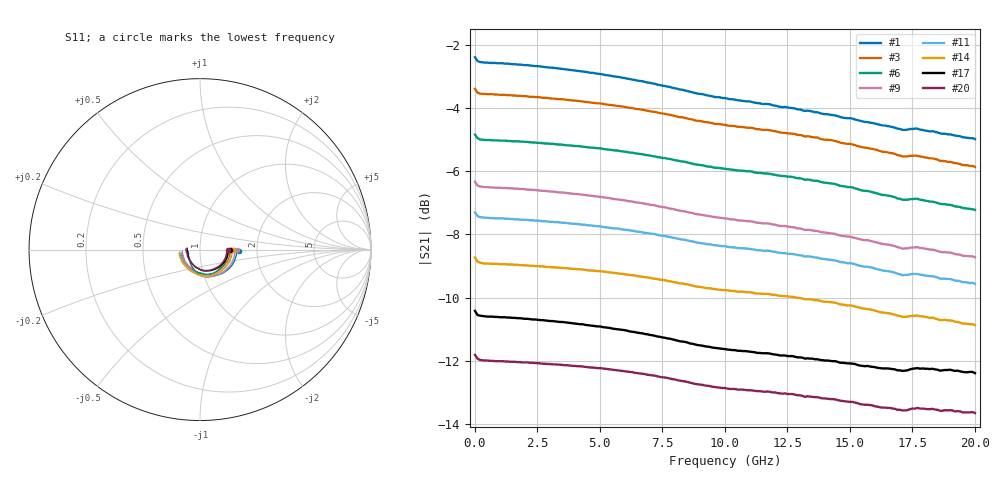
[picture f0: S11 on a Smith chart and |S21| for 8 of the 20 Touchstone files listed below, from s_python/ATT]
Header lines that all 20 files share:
!s2p File: Measurements: S11, S21, S12, S22
# GHz S dB R 50.0
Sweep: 10 MHz to 20.01 GHz
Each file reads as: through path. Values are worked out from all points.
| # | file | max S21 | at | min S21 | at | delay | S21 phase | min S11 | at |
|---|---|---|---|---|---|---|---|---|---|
| 1 | HMC424A-DIE_direct probed sparameters_0.0dB.s2p | -2.39 dB | 10 MHz | -5.0 dB | 20.01 GHz | 24.6 ps | -92 deg at 10.01 GHz | -23.2 dB | 19.81 GHz |
| 2 | HMC424A-DIE_direct probed sparameters_0.5dB.s2p | -2.83 dB | 10 MHz | -5.4 dB | 20.01 GHz | 25.1 ps | -93 deg at 10.01 GHz | -21.7 dB | 19.91 GHz |
| 3 | HMC424A-DIE_direct probed sparameters_1.0dB.s2p | -3.39 dB | 10 MHz | -5.9 dB | 20.01 GHz | 24.9 ps | -92 deg at 10.01 GHz | -19.6 dB | 19.91 GHz |
| 4 | HMC424A-DIE_direct probed sparameters_1.5dB.s2p | -3.81 dB | 10 MHz | -6.3 dB | 20.01 GHz | 25.4 ps | -93 deg at 10.01 GHz | -18.9 dB | 19.91 GHz |
| 5 | HMC424A-DIE_direct probed sparameters_2.0dB.s2p | -4.41 dB | 10 MHz | -6.8 dB | 20.01 GHz | 24.4 ps | -91 deg at 10.01 GHz | -19.6 dB | 18.41 GHz |
| 6 | HMC424A-DIE_direct probed sparameters_2.5dB.s2p | -4.84 dB | 10 MHz | -7.2 dB | 20.01 GHz | 24.8 ps | -91 deg at 10.01 GHz | -19.0 dB | 19.91 GHz |
| 7 | HMC424A-DIE_direct probed sparameters_3.0dB.s2p | -5.35 dB | 10 MHz | -7.8 dB | 20.01 GHz | 24.7 ps | -91 deg at 10.01 GHz | -17.9 dB | 19.81 GHz |
| 8 | HMC424A-DIE_direct probed sparameters_3.5dB.s2p | -5.76 dB | 10 MHz | -8.2 dB | 20.01 GHz | 25 ps | -92 deg at 10.01 GHz | -17.5 dB | 19.81 GHz |
| 9 | HMC424A-DIE_direct probed sparameters_4.0dB.s2p | -6.33 dB | 10 MHz | -8.7 dB | 20.01 GHz | 23.7 ps | -88 deg at 10.01 GHz | -19.7 dB | 20.01 GHz |
| 10 | HMC424A-DIE_direct probed sparameters_4.5dB.s2p | -6.76 dB | 10 MHz | -9.1 dB | 20.01 GHz | 24.1 ps | -89 deg at 10.01 GHz | -19.1 dB | 19.91 GHz |
| 11 | HMC424A-DIE_direct probed sparameters_5.0dB.s2p | -7.30 dB | 10 MHz | -9.6 dB | 20.01 GHz | 23.9 ps | -89 deg at 10.01 GHz | -18.5 dB | 19.91 GHz |
| 12 | HMC424A-DIE_direct probed sparameters_5.5dB.s2p | -7.71 dB | 10 MHz | -10.0 dB | 20.01 GHz | 24.3 ps | -89 deg at 10.01 GHz | -18.1 dB | 19.91 GHz |
| 13 | HMC424A-DIE_direct probed sparameters_6.0dB.s2p | -8.32 dB | 10 MHz | -10.5 dB | 20.01 GHz | 23.4 ps | -86 deg at 10.01 GHz | -18.6 dB | 19.91 GHz |
| 14 | HMC424A-DIE_direct probed sparameters_6.5dB.s2p | -8.73 dB | 10 MHz | -10.9 dB | 20.01 GHz | 23.7 ps | -87 deg at 10.01 GHz | -18.2 dB | 19.91 GHz |
| 15 | HMC424A-DIE_direct probed sparameters_7.0dB.s2p | -9.24 dB | 10 MHz | -11.4 dB | 20.01 GHz | 23.6 ps | -87 deg at 10.01 GHz | -17.9 dB | 19.91 GHz |
| 16 | HMC424A-DIE_direct probed sparameters_7.5dB.s2p | -9.64 dB | 10 MHz | -11.8 dB | 20.01 GHz | 23.9 ps | -88 deg at 10.01 GHz | -17.6 dB | 19.91 GHz |
| 17 | HMC424A-DIE_direct probed sparameters_8.0dB.s2p | -10.42 dB | 10 MHz | -12.4 dB | 20.01 GHz | 21.8 ps | -82 deg at 10.01 GHz | -22.7 dB | 18.41 GHz |
| 18 | HMC424A-DIE_direct probed sparameters_8.5dB.s2p | -10.85 dB | 10 MHz | -12.8 dB | 20.01 GHz | 22.2 ps | -83 deg at 10.01 GHz | -22.3 dB | 18.41 GHz |
| 19 | HMC424A-DIE_direct probed sparameters_9.0dB.s2p | -11.39 dB | 10 MHz | -13.2 dB | 20.01 GHz | 22 ps | -82 deg at 10.01 GHz | -22.3 dB | 18.41 GHz |
| 20 | HMC424A-DIE_direct probed sparameters_9.5dB.s2p | -11.81 dB | 10 MHz | -13.7 dB | 20.01 GHz | 22.4 ps | -83 deg at 10.01 GHz | -22.0 dB | 18.41 GHz |
